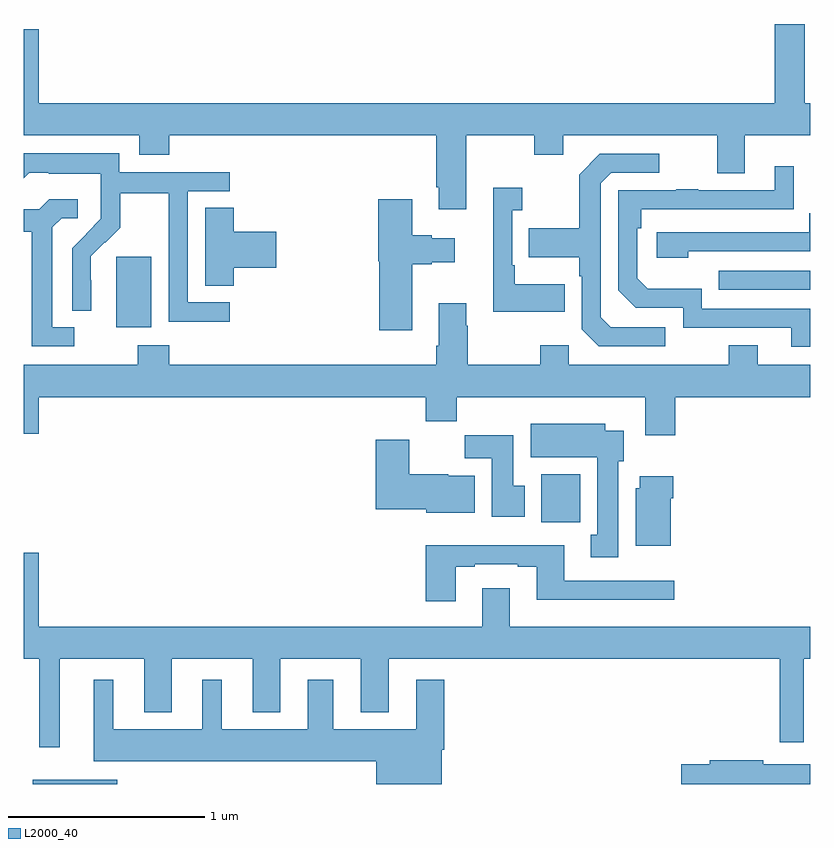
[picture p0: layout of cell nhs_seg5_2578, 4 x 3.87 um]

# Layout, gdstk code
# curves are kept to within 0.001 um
import gdstk
lib = gdstk.Library(unit=1e-6, precision=1e-09)
def R(c, l, rs):  # rectangles x0, y0, x1, y1
    for r in rs: c.add(gdstk.rectangle(r[:2], r[2:], *l))
def P(c, l, *ps):  # polygons
    for p in ps: c.add(gdstk.Polygon(p, *l))
L2000_40 = (2000, 40)

nhs_seg5_2578 = lib.new_cell('nhs_seg5_2578')
R(nhs_seg5_2578, L2000_40, [(261.044,846.799,261.475,846.82), (263.633,848.132,263.83,848.374), (261.47,849.122,261.649,849.483), (264.535,849.315,265,849.411)])
P(nhs_seg5_2578, L2000_40, [(263.251,850.1),(263.596,850.1),(263.596,850.001),(263.743,850.001),(263.743,850.1),(264.527,850.1),(264.527,849.906),(264.667,849.906),(264.667,850.1),(265,850.1),(265,850.264),(264.973,850.264),(264.973,850.666),(264.821,850.666),(264.821,850.264),(261.076,850.264),(261.076,850.639),(261,850.639),(261,850.1),(261.587,850.1),(261.587,850.001),(261.74,850.001),(261.74,850.1),(263.099,850.1),(263.099,849.835),(263.111,849.835),(263.111,849.723),(263.251,849.723)],
  [(262.048,849.249),(261.834,849.249),(261.834,849.816),(262.048,849.816),(262.048,849.912),(261.486,849.912),(261.486,850.009),(261,850.009),(261,849.882),(261.027,849.909),(261.127,849.909),(261.127,849.905),(261.39,849.905),(261.39,849.771),(261.392,849.771),(261.392,849.674),(261.246,849.526),(261.246,849.208),(261.342,849.208),(261.341,849.485),(261.411,849.555),(261.414,849.552),(261.491,849.629),(261.491,849.804),(261.736,849.804),(261.736,849.58),(261.738,849.58),(261.738,849.151),(262.048,849.151)],
  [(264.262,849.123),(263.985,849.123),(263.934,849.174),(263.934,849.855),(263.988,849.909),(264.232,849.909),(264.232,850.005),(263.931,850.005),(263.826,849.899),(263.826,849.627),(263.569,849.627),(263.569,849.479),(263.826,849.479),(263.826,849.383),(263.838,849.383),(263.838,849.114),(263.925,849.027),(264.262,849.027)],
  [(265,849.216),(264.45,849.216),(264.45,849.319),(264.173,849.319),(264.12,849.372),(264.12,849.626),(264.14,849.626),(264.14,849.723),(264.917,849.724),(264.917,849.943),(264.821,849.943),(264.821,849.819),(264.431,849.819),(264.431,849.824),(264.319,849.824),(264.319,849.819),(264.024,849.819),(264.024,849.312),(264.114,849.222),(264.354,849.222),(264.354,849.12),(264.905,849.12),(264.905,849.024),(265,849.024)],
  [(263.753,849.343),(263.497,849.343),(263.497,849.439),(263.484,849.439),(263.484,849.719),(263.536,849.719),(263.536,849.832),(263.387,849.832),(263.387,849.203),(263.753,849.203)],
  [(261.256,849.123),(261.145,849.123),(261.145,849.631),(261.192,849.678),(261.274,849.678),(261.274,849.775),(261.13,849.775),(261.078,849.723),(261,849.723),(261,849.608),(261.041,849.608),(261.041,849.027),(261.256,849.027)],
  [(262.975,849.443),(263.075,849.443),(263.075,849.455),(263.191,849.455),(263.191,849.577),(263.075,849.577),(263.075,849.59),(262.975,849.59),(262.975,849.775),(262.802,849.775),(262.802,849.459),(262.808,849.459),(262.808,849.108),(262.975,849.108)],
  [(262.067,849.425),(262.285,849.425),(262.285,849.608),(262.067,849.608),(262.067,849.731),(261.923,849.731),(261.923,849.334),(262.067,849.334)],
  [(264.38,849.51),(265,849.51),(265,849.703),(264.995,849.703),(264.995,849.606),(264.219,849.606),(264.219,849.476),(264.38,849.476)],
  [(264.314,848.768),(265,848.768),(265,848.932),(264.733,848.932),(264.733,849.031),(264.586,849.031),(264.586,848.932),(263.772,848.932),(263.772,849.031),(263.626,849.031),(263.626,848.932),(263.259,848.932),(263.259,849.131),(263.251,849.131),(263.251,849.244),(263.111,849.244),(263.111,849.028),(263.099,849.028),(263.099,848.932),(261.74,848.932),(261.74,849.031),(261.58,849.031),(261.58,848.932),(261,848.932),(261,848.58),(261.076,848.58),(261.076,848.768),(263.045,848.768),(263.045,848.644),(263.201,848.644),(263.201,848.768),(264.161,848.768),(264.161,848.574),(264.314,848.574)],
  [(264.025,848.442),(264.052,848.442),(264.052,848.596),(263.959,848.596),(263.959,848.632),(263.579,848.632),(263.579,848.462),(263.918,848.462),(263.918,848.066),(263.885,848.066),(263.885,847.953),(264.025,847.953)],
  [(263.548,848.316),(263.491,848.316),(263.491,848.574),(263.242,848.574),(263.242,848.456),(263.381,848.456),(263.381,848.16),(263.548,848.16)],
  [(263.293,848.368),(263.16,848.368),(263.16,848.374),(262.96,848.374),(262.96,848.551),(262.79,848.551),(262.79,848.198),(263.046,848.198),(263.046,848.18),(263.293,848.18)],
  [(264.292,848.252),(264.305,848.252),(264.305,848.365),(264.134,848.365),(264.134,848.304),(264.113,848.304),(264.113,848.012),(264.292,848.012)],
  [(263.197,847.905),(263.293,847.905),(263.293,847.917),(263.513,847.917),(263.513,847.905),(263.609,847.905),(263.609,847.736),(264.31,847.736),(264.31,847.833),(263.749,847.833),(263.749,848.014),(263.045,848.014),(263.045,847.728),(263.197,847.728)],
  [(261.181,847.436),(261.611,847.436),(261.611,847.163),(261.751,847.163),(261.751,847.436),(262.163,847.436),(262.163,847.163),(262.303,847.163),(262.303,847.436),(262.715,847.436),(262.715,847.163),(262.855,847.163),(262.855,847.436),(264.845,847.436),(264.845,847.011),(264.967,847.011),(264.967,847.436),(265,847.436),(265,847.6),(263.473,847.6),(263.473,847.795),(263.333,847.795),(263.333,847.6),(261.076,847.6),(261.076,847.975),(261,847.975),(261,847.436),(261.077,847.436),(261.077,846.987),(261.181,846.987)],
  [(263.125,846.974),(263.138,846.974),(263.138,847.33),(262.997,847.33),(262.997,847.078),(262.573,847.078),(262.573,847.33),(262.445,847.33),(262.445,847.078),(262.006,847.078),(262.006,847.33),(261.908,847.33),(261.908,847.078),(261.454,847.078),(261.454,847.33),(261.356,847.33),(261.356,846.914),(262.793,846.914),(262.793,846.799),(263.125,846.799)],
  [(265,846.9),(264.761,846.9),(264.761,846.92),(264.49,846.92),(264.49,846.9),(264.344,846.9),(264.344,846.799),(265,846.799)])

lib.write_gds('nhs_seg5_2578.gds')
